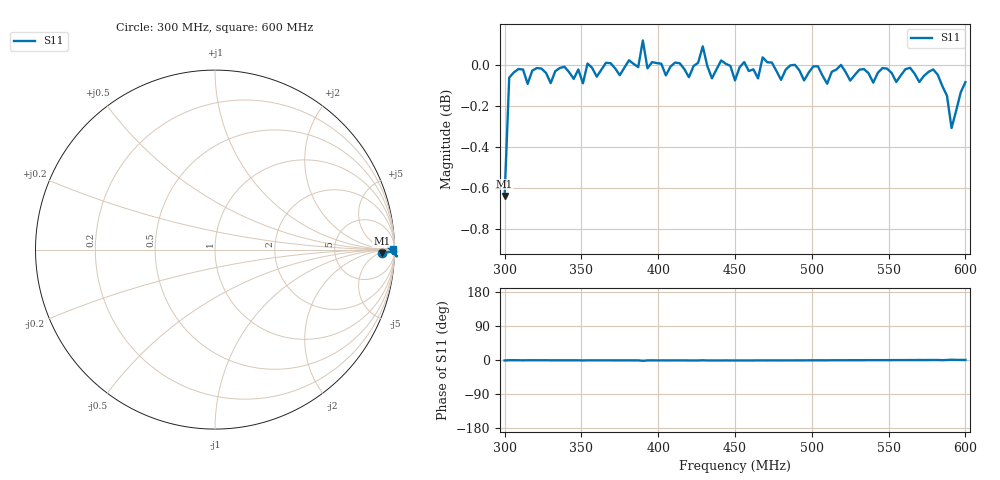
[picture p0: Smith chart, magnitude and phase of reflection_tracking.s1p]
! Created with skrf 1.8.0 (http://scikit-rf.org).
# Hz S RI R 50.0
!freq ReS11 ImS11
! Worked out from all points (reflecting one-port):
!   101 points, 300 MHz to 600 MHz, reference 50 ohm
!   lowest |S11| = -0.6 dB at 300 MHz (marker M1), VSWR 27.24, Z = 1.25e+03 - j368 ohm
!   phase of S11 starts at -1 deg and turns +1 deg over the sweep
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3e8  0.929 -0.02
3.03e8  0.9928 -0.0102
3.24e8  0.9978 -0.0129
3.3e8  0.9897 -0.0138
3.39e8  0.9988 -0.0142
3.51e8  0.9895 -0.0209
3.54e8  1.001 -0.0153
3.75e8  0.9941 -0.0169
3.87e8  0.9986 -0.0171
3.9e8  1.013 -0.0387
3.93e8  0.9979 -0.018
4.14e8  1.001 -0.0199
4.2e8  0.9929 -0.0211
4.29e8  1.01 -0.0125
4.35e8  0.9923 -0.0207
4.41e8  1.002 -0.0223
4.5e8  0.9911 -0.0212
4.56e8  1.001 -0.0224
4.65e8  0.9923 -0.019
4.68e8  1.004 -0.0191
4.8e8  0.9914 -0.0199
4.89e8  0.9999 -0.017
5.25e8  0.9912 -0.00995
5.64e8  0.9984 -0.00287
5.82e8  0.9945 -0.000662
5.85e8  0.9881 -0.0085
5.91e8  0.9652 0.011
6e8  0.9904 0.00191
